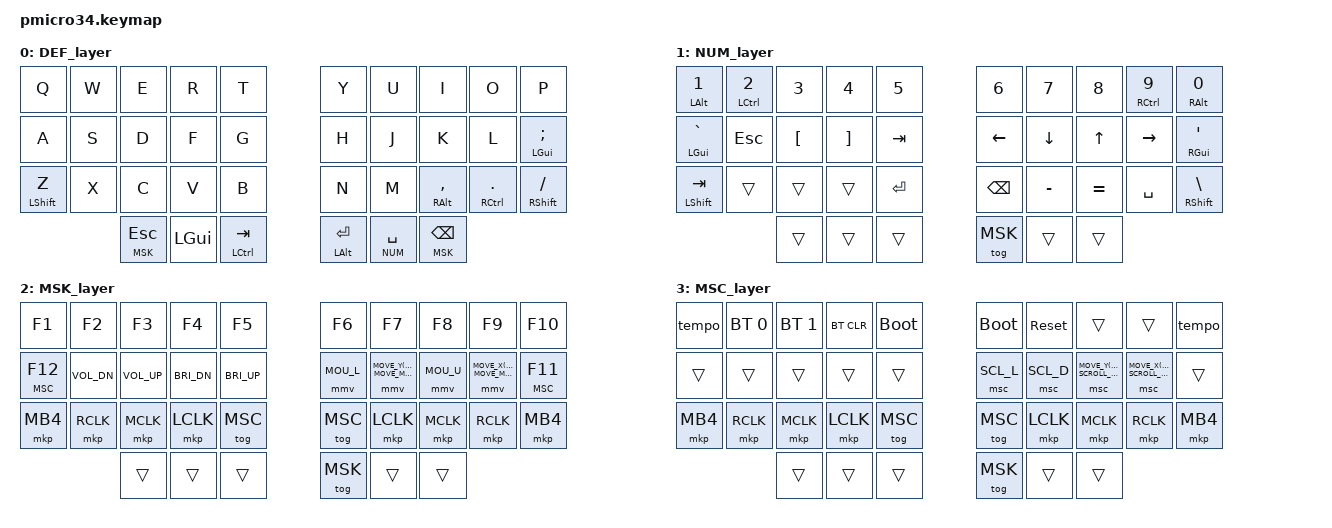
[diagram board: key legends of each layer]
/*
 * Copyright (c) 2020 The ZMK Contributors
 *
 * SPDX-License-Identifier: MIT
 */

#include <behaviors.dtsi>
#include <behaviors/mouse_keys.dtsi>
#include <dt-bindings/zmk/keys.h>
#include <dt-bindings/zmk/bt.h>
#include <dt-bindings/zmk/rgb.h>
#include <dt-bindings/zmk/ext_power.h>
#include <dt-bindings/zmk/outputs.h>
#include <dt-bindings/zmk/mouse.h>

#define DEF 0
#define NUM 1
#define MSK 2
#define MSC 3

#define U_MOUSE_MOVE_MAX 1900
#define MOU_U MOVE_Y(-U_MOUSE_MOVE_MAX)
#define MOU_D MOVE_Y(U_MOUSE_MOVE_MAX)
#define MOU_L MOVE_X(-U_MOUSE_MOVE_MAX)
#define MOU_R MOVE_X(U_MOUSE_MOVE_MAX)

#define U_MOUSE_SCROLL_MAX 20
#define SCL_U MOVE_Y(U_MOUSE_SCROLL_MAX)
#define SCL_D MOVE_Y(-U_MOUSE_SCROLL_MAX)
#define SCL_L MOVE_X(-U_MOUSE_SCROLL_MAX)
#define SCL_R MOVE_X(U_MOUSE_SCROLL_MAX)

/ {
        tb0_mmv_ibl {
                compatible = "zmk,input-behavior-listener";
                device = <&pd0>;
                layers = <DEF NUM MSK>;
		evt-type = <INPUT_EV_REL>;
		x-input-code = <INPUT_REL_X>;
		y-input-code = <INPUT_REL_Y>;
		scale-multiplier = <1>;
		scale-divisor = <1>;
                // bindings = <&ib_tog_layer MSK>;
        };
        tb0_msl_ibl {
                compatible = "zmk,input-behavior-listener";
                device = <&pd0>;
                layers = <MSC>;
                evt-type = <INPUT_EV_REL>;
                x-input-code = <INPUT_REL_MISC>;
                y-input-code = <INPUT_REL_WHEEL>;
                scale-multiplier = <1>;
                scale-divisor = <8>;
                y-invert;
        };
        // ib_tog_layer: ib_tog_layer {
        //         compatible = "zmk,input-behavior-tog-layer";
        //         #binding-cells = <1>;
        //         time-to-live-ms = <1000>;
        // };

        tempo: key_tempo {
                compatible = "zmk,behavior-key-tempo";
                #binding-cells = <0>;
                usage-pages = <HID_USAGE_KEY HID_USAGE_CONSUMER>;
        };

        keymap {
                compatible = "zmk,keymap";
                DEF_layer {
// +------------------------------------------------------+     +--------------------------------------------------------+
// |     Q    |     W    |     E    |     R    |     T    |     |     Y     |     U    |    I      |     O    |     P    |
// |     A    |     S    |     D    |     F    |     G    |     |     H     |     J    |    K      |     L    |   GUI ;: |
// |  SHFT Z  |     X    |     C    |     V    |     B    |     |     N     |     M    |   ALT ,<  |  CTRL .> |  SHFT /? |
//                       | ^MSK:ESC |    GUI   | CTRL:TAB |     |  ALT:ENT  | _LWR:SPC | ^MSK:BKSP |
                        bindings = <
   &kp Q        &kp W  &kp E          &kp R     &kp T             &kp Y         &kp U          &kp I           &kp O          &kp P
   &kp A        &kp S  &kp D          &kp F     &kp G             &kp H         &kp J          &kp K           &kp L          &mt LGUI SEMI
   &mt LSHFT Z  &kp X  &kp C          &kp V     &kp B             &kp N         &kp M          &mt RALT COMMA  &mt RCTRL DOT  &mt RSHFT FSLH
                       &lt MSK ESC    &kp LGUI  &mt LCTRL TAB     &mt LALT RET  &lt NUM SPACE  &lt MSK BKSP
                        >;
                };
                NUM_layer {
// +------------------------------------------------------+     +-------------------------------------------------------+
// | LALT 1!  | LCTRL 2@  |    3#    |    4$    |    5%   |     |    6^    |    7&    |    8&    |  RCTRL 9( |  RALT 0) |
// | LGUI `~  |    ESC    |    {[    |    ]}    |   TAB   |     |    LFT   |   DWN    |    UP    |    RGT    |  RGUI '" |
// | SHFT TAB |           |          |          |   RET   |     |   BKSP   |    -_    |    =+    |    SPC    |  SHFT \| |
//                        |          |          |         |     |   ^MSK   |    (H)   |          |
                        bindings = <
   &mt LALT N1     &mt LCTRL N2  &kp N3    &kp N4     &kp N5        &kp N6    &kp N7     &kp N8     &mt RCTRL N9  &mt RALT N0
   &mt LGUI GRAVE  &kp ESC       &kp LBKT  &kp RBKT   &kp TAB       &kp LEFT  &kp DOWN   &kp UP     &kp RIGHT     &mt RGUI SQT
   &mt LSHFT TAB   &trans        &trans    &trans     &kp RET       &kp BKSP  &kp MINUS  &kp EQUAL  &kp SPACE     &mt RSHFT BSLH
                                 &trans    &trans     &trans        &tog MSK  &trans     &trans
                        >;
                };
                MSK_layer {
// +------------------------------------------------------+     +------------------------------------------------------+
// |    F1    |    F2    |    F3    |    F4    |    F5    |     |    F6    |    F7    |    F8    |    F9    |   F10    |
// | _MSC:F12 |   VOLD   |   VOLU   |   BRID   |   BRIU   |     |   MLFT   |   MDWN   |    MUP   |   MRGT   | _MSC:F11 |
// |    MB4   |   RCLK   |   MCLK   |   LCLK   |   ^MSC   |     |   ^MSC   |   LCLK   |   MCLK   |   RCLK   |   MB4    |
//                       |   (H)    |          |          |     |   ^MSK   |          |    (H)   |
                        bindings = <
   &kp F1       &kp F2        &kp F3        &kp F4        &kp F5            &kp F6      &kp F7      &kp F8      &kp F9      &kp F10
   &lt MSC F12  &kp C_VOL_DN  &kp C_VOL_UP  &kp C_BRI_DN  &kp C_BRI_UP      &mmv MOU_L  &mmv MOU_D  &mmv MOU_U  &mmv MOU_R  &lt MSC F11
   &mkp MB4     &mkp RCLK     &mkp MCLK     &mkp LCLK     &tog MSC          &tog MSC    &mkp LCLK   &mkp MCLK   &mkp RCLK   &mkp MB4
                              &trans        &trans        &trans            &tog MSK    &trans      &trans
                        >;
                };
                MSC_layer {
// +------------------------------------------------------+     +------------------------------------------------------+
// |   TEMPO  |   BT_0   |   BT_1   |   BT_C   |   DFU    |     |    DFU   |   RESET  |          |          |  TEMPO   |
// |    (H)   |          |          |          |          |     |   SLFT   |   SDWN   |    SUP   |   SRGT   |   (H)    |
// |    MB4   |   RCLK   |   MCLK   |   LCLK   |   ^MSC   |     |   ^MSC   |   LCLK   |   MCLK   |   RCLK   |   MB4    |
//                       |          |          |          |     |   ^MSK   |          |          |
                        bindings = <
   &tempo    &bt BT_SEL 0  &bt BT_SEL 1  &bt BT_CLR    &bootloader       &bootloader   &sys_reset  &trans      &trans      &tempo
   &trans    &trans        &trans        &trans        &trans            &msc SCL_L    &msc SCL_D  &msc SCL_U  &msc SCL_R  &trans
   &mkp MB4  &mkp RCLK     &mkp MCLK     &mkp LCLK     &tog MSC          &tog MSC      &mkp LCLK   &mkp MCLK   &mkp RCLK   &mkp MB4
                           &trans        &trans        &trans            &tog MSK      &trans      &trans
                        >;
                };
       };
};
